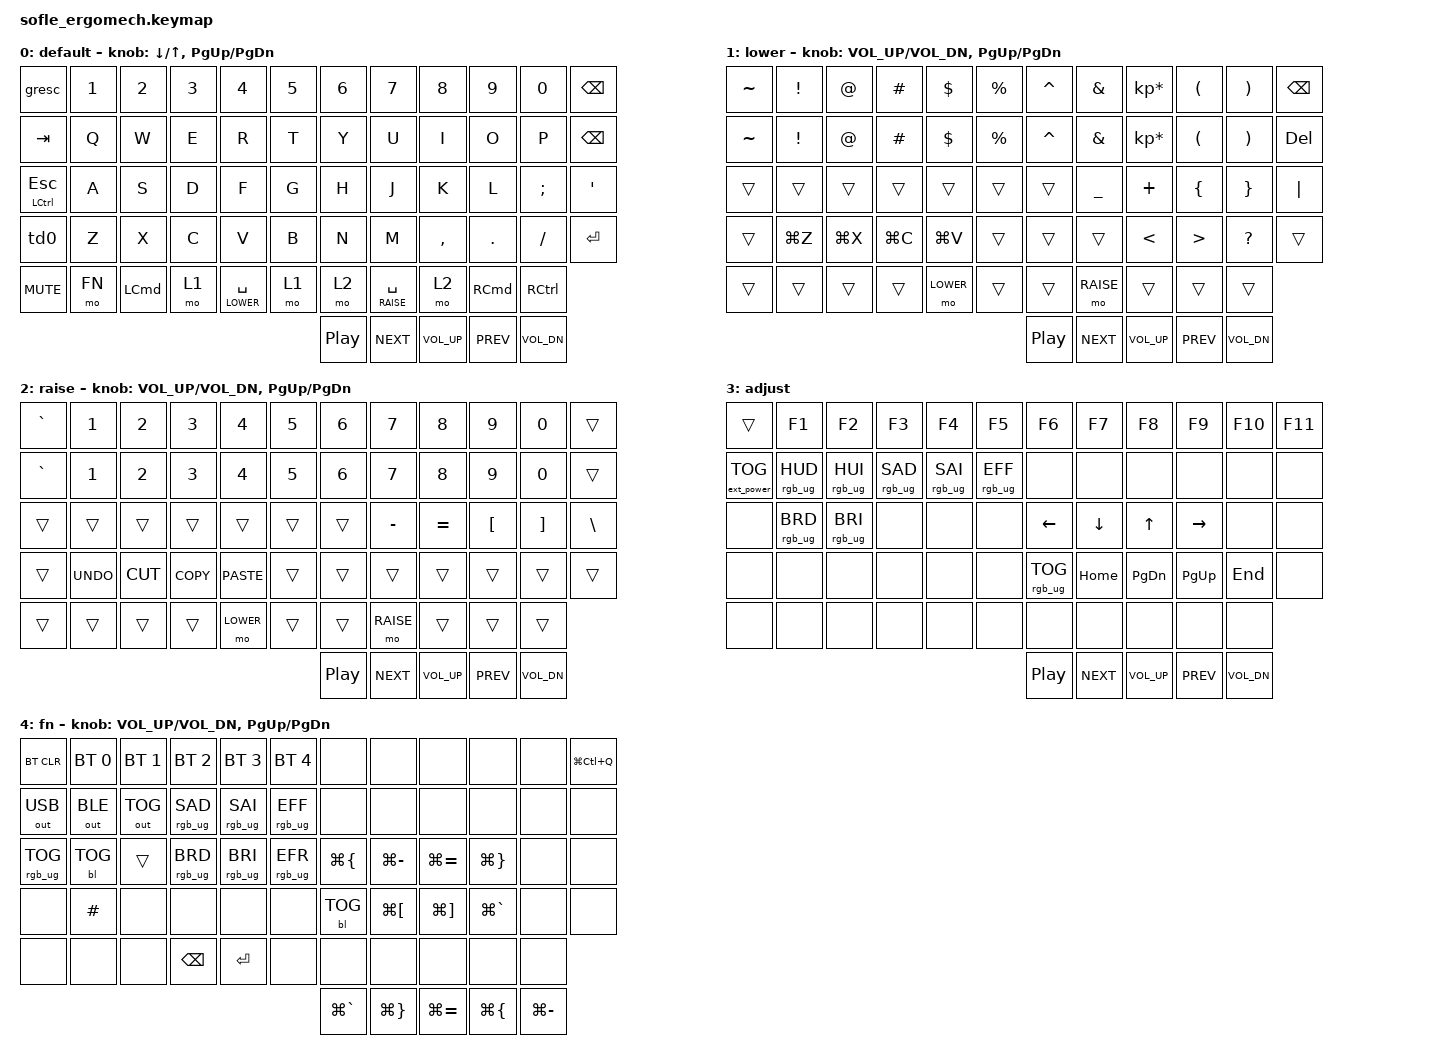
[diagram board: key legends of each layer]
/*
 * Copyright (c) 2020 The ZMK Contributors
 *
 * SPDX-License-Identifier: MIT
 */

#include <behaviors.dtsi>
#include <dt-bindings/zmk/backlight.h>
#include <dt-bindings/zmk/bt.h>
#include <dt-bindings/zmk/ext_power.h>
#include <dt-bindings/zmk/keys.h>
#include <dt-bindings/zmk/outputs.h>
#include <dt-bindings/zmk/rgb.h>

#define BASE 0
#define LOWER 1
#define RAISE 2
#define ADJUST 3
#define FN 4

/ {
    behaviors {
        gresc: grave_escape {
            compatible = "zmk,behavior-mod-morph";
            label = "GRAVE_ESCAPE";
            #binding-cells = <0>;
            bindings = <&kp ESC>, <&kp GRAVE>;

            mods = <(MOD_LGUI|MOD_LSFT|MOD_RGUI|MOD_LCTL)>;
        };

        what: what {
            compatible = "zmk,behavior-mod-morph";
            label = "WHAT";
            #binding-cells = <0>;
            bindings = <&kp LSHFT>, <&mo FN>;

            mods = <(MOD_LGUI|MOD_LCTL)>;
        };

        td0: tap_dance_0 {
            compatible = "zmk,behavior-tap-dance";
            label = "TAP_DANCE_0";
            #binding-cells = <0>;
            tapping-term-ms = <200>;
            bindings = <&kp LSHFT>, <&sl FN>, <&kp N3>;
        };

        td1: tap_dance_1 {
            compatible = "zmk,behavior-tap-dance";
            label = "TAP_DANCE_1";
            #binding-cells = <0>;
            tapping-term-ms = <200>;
            bindings = <&kp LCTRL>, <&mo FN>, <&kp N3>;
        };
    };

    // Activate ADJUST layer by pressing raise and lower

    conditional_layers {
        compatible = "zmk,conditional-layers";

        adjust_layer {
            if-layers = <LOWER RAISE>;
            then-layer = <ADJUST>;
        };
    };

    keymap {
        compatible = "zmk,keymap";

        default_layer {
            label = "default";

            // ------------------------------------------------------------------------------------------------------------
            // |  ESC  |  1  |  2  |  3   |  4   |  5   |                   |  6   |  7    |  8    |  9   |   0   | BKSPC |
            // |  TAB  |  Q  |  W  |  E   |  R   |  T   |                   |  Y   |  U    |  I    |  O   |   P   | BKSPC |
            // |  CTRL |  A  |  S  |  D   |  F   |  G   |                   |  H   |  J    |  K    |  L   |   ;   |   '   |
            // | SHIFT |  Z  |  X  |  C   |  V   |  B   |  MUTE  |  |       |  N   |  M    |  ,    |  .   |   /   | ENTER |
            //               | CTRL| ALT  | GUI  | LOWER|  SPACE |  | SPACE | RAISE| GUI   | ALT   | CTRL |

            bindings = <
&gresc         &kp N1  &kp N2            &kp N3  &kp N4           &kp N5  &kp N6    &kp N7           &kp N8        &kp N9             &kp N0        &kp BSPC
&kp TAB        &kp Q   &kp W             &kp E   &kp R            &kp T   &kp Y     &kp U            &kp I         &kp O              &kp P         &kp BSPC
&mt LCTRL ESC  &kp A   &kp S             &kp D   &kp F            &kp G   &kp H     &kp J            &kp K         &kp L              &kp SEMI      &kp SQT
&td0           &kp Z   &kp X             &kp C   &kp V            &kp B   &kp N     &kp M            &kp COMMA     &kp PERIOD         &kp SLASH     &kp ENTER
&kp C_MUTE     &mo FN  &kp LEFT_COMMAND  &mo 1   &lt LOWER SPACE  &mo 1   &mo 2     &lt RAISE SPACE  &mo 2         &kp RIGHT_COMMAND  &kp RCTRL
                                                                          &kp C_PP  &kp C_NEXT       &kp K_VOL_UP  &kp C_PREV         &kp K_VOL_DN
            >;

            sensor-bindings = <&inc_dec_kp DOWN UP &inc_dec_kp PG_UP PG_DN>;
        };

        lower_layer {
            label = "lower";

            // TODO: Some binds are waiting for shifted keycode support.
            // ------------------------------------------------------------------------------------------------------------
            // |   ~   |  !  |  @  |  #   |  $   |  %   |                   |  ^   |  &    |  *    |  (   |   )   |   |   |
            // |   ~   |  !  |  @  |  #   |  $   |  %   |                   |  ^   |  &    |  *    |  (   |   )   |   |   |
            // |       |     |     |      |      |      |                   |      |  _    |  +    |  {   |   }   |   |   |
            // |       |  Z  |  X  |  C   |  V   |      |        |  |       |      |       |  <    |  >   |   ?   |       |
            //               |     |      |      |      |        |  |       |      |       |       |      |

            bindings = <
&kp TILDE  &kp EXCL   &kp AT     &kp HASH   &kp DLLR   &kp PRCNT  &kp CARET  &kp AMPS        &kp KP_MULTIPLY  &kp LPAR          &kp RPAR         &kp BSPC
&kp TILDE  &kp EXCL   &kp AT     &kp HASH   &kp DLLR   &kp PRCNT  &kp CARET  &kp AMPS        &kp KP_MULTIPLY  &kp LPAR          &kp RPAR         &kp DEL
&trans     &trans     &trans     &trans     &trans     &trans     &trans     &kp UNDERSCORE  &kp PLUS         &kp LEFT_BRACE    &kp RIGHT_BRACE  &kp PIPE
&trans     &kp LG(Z)  &kp LG(X)  &kp LG(C)  &kp LG(V)  &trans     &trans     &trans          &kp LT           &kp GREATER_THAN  &kp QUESTION     &trans
&trans     &trans     &trans     &trans     &mo LOWER  &trans     &trans     &mo RAISE       &trans           &trans            &trans
                                                                  &kp C_PP   &kp C_NEXT      &kp K_VOL_UP     &kp C_PREV        &kp K_VOL_DN
            >;

            sensor-bindings = <&inc_dec_kp C_VOL_UP C_VOL_DN &inc_dec_kp PG_UP PG_DN>;
        };

        raise_layer {
            label = "raise";

            // ------------------------------------------------------------------------------------------------------------
            // |   `   |  1   |  2   |  3    |  4    |  5   |                |  6   |  7   |  8    |  9   |   0   |       |
            // |   `   |  1   |  2   |  3    |  4    |  5   |                |  6   |  7   |  8    |  9   |   0   |       |
            // |       |      |      |       |       |      |                |      |  -   |   =   |  [   |   ]   |   \   |
            // |       | UNDO | CUT  | COPY  | PASTE |      |      |  |      |      |      |       |      |       |       |
            //                |      |       |       |      |      |  |      |      |      |       |      |

            bindings = <
&kp GRAVE  &kp N1      &kp N2     &kp N3      &kp N4       &kp N5  &kp N6    &kp N7      &kp N8        &kp N9      &kp N0        &trans
&kp GRAVE  &kp N1      &kp N2     &kp N3      &kp N4       &kp N5  &kp N6    &kp N7      &kp N8        &kp N9      &kp N0        &trans
&trans     &trans      &trans     &trans      &trans       &trans  &trans    &kp MINUS   &kp EQUAL     &kp LBKT    &kp RBKT      &kp BACKSLASH
&trans     &kp K_UNDO  &kp K_CUT  &kp K_COPY  &kp K_PASTE  &trans  &trans    &trans      &trans        &trans      &trans        &trans
&trans     &trans      &trans     &trans      &mo LOWER    &trans  &trans    &mo RAISE   &trans        &trans      &trans
                                                                   &kp C_PP  &kp C_NEXT  &kp K_VOL_UP  &kp C_PREV  &kp K_VOL_DN
            >;

            sensor-bindings = <&inc_dec_kp C_VOL_UP C_VOL_DN &inc_dec_kp PG_UP PG_DN>;
        };

        adjust_layer {
            // ----------------------------------------------------------------------------------------------------------------------------
            // |        |  F1     |  F2     |  F3     |  F4     |  F5     |                  |  F6  |  F7  |  F8   |  F9  |  F10  |  F11  |
            // | EXTPWR | RGB_HUD | RGB_HUI | RGB_SAD | RGB_SAI | RGB_EFF |                  |      |      |       |      |       |       |
            // |        | RGB_BRD | RGB_BRI |         |         |         |                  |  <-  | DOWN |  UP   |   -> |       |       |
            // |        |         |         |         |         |         | RGB_TOG | |      | HOME | PGDN |  PGUP |  END |       |       |
            //                    |         |         |         |         |         | |      |      |      |       |      |

            label = "adjust";
            bindings = <
&trans             &kp F1           &kp F2           &kp F3           &kp F4           &kp F5           &kp F6           &kp F7      &kp F8        &kp F9      &kp F10       &kp F11
&ext_power EP_TOG  &rgb_ug RGB_HUD  &rgb_ug RGB_HUI  &rgb_ug RGB_SAD  &rgb_ug RGB_SAI  &rgb_ug RGB_EFF  &none            &none       &none         &none       &none         &none
&none              &rgb_ug RGB_BRD  &rgb_ug RGB_BRI  &none            &none            &none            &kp LEFT         &kp DOWN    &kp UP        &kp RIGHT   &none         &none
&none              &none            &none            &none            &none            &none            &rgb_ug RGB_TOG  &kp HOME    &kp PG_DN     &kp PG_UP   &kp END       &none
&none              &none            &none            &none            &none            &none            &none            &none       &none         &none       &none
                                                                                                        &kp C_PP         &kp C_NEXT  &kp K_VOL_UP  &kp C_PREV  &kp K_VOL_DN
            >;
        };

        fn_layer {
            // ----------------------------------------------------------------------------------------------------------------------------
            // | BTCLR  |  BT1    |  BT2    |   BT3   |   BT4   |   BT5   |                  |      |      |       |      |       |       |
            // | EXTPWR | RGB_HUD | RGB_HUI | RGB_SAD | RGB_SAI | RGB_EFF |                  |      |      |       |      |       |       |
            // |        | RGB_BRD | RGB_BRI |         |         |         |                  |      |      |       |      |       |       |
            // |        |         |         |         |         |         | RGB_TOG | |      |      |      |       |      |       |       |
            //                    |         |         |         |         |         | |      |      |      |       |      |

            label = "fn";
            bindings = <
&bt BT_CLR       &bt BT_SEL 0  &bt BT_SEL 1  &bt BT_SEL 2     &bt BT_SEL 3     &bt BT_SEL 4     &none          &none          &none          &none          &none          &kp LG(LC(Q))
&out OUT_USB     &out OUT_BLE  &out OUT_TOG  &rgb_ug RGB_SAD  &rgb_ug RGB_SAI  &rgb_ug RGB_EFF  &none          &none          &none          &none          &none          &none
&rgb_ug RGB_TOG  &bl BL_TOG    &trans        &rgb_ug RGB_BRD  &rgb_ug RGB_BRI  &rgb_ug RGB_EFR  &kp LG(LBRC)   &kp LG(MINUS)  &kp LG(EQUAL)  &kp LG(RBRC)   &none          &none
&none            &kp HASH      &none         &none            &none            &none            &bl BL_TOG     &kp LG(LBKT)   &kp LG(RBKT)   &kp LG(GRAVE)  &none          &none
&none            &none         &none         &kp BSPC         &kp ENTER        &none            &none          &none          &none          &none          &none
                                                                                                &kp LG(GRAVE)  &kp LG(RBRC)   &kp LG(EQUAL)  &kp LG(LBRC)   &kp LG(MINUS)
            >;

            sensor-bindings = <&inc_dec_kp C_VOL_UP C_VOL_DN &inc_dec_kp PG_UP PG_DN>;
        };
    };
};
